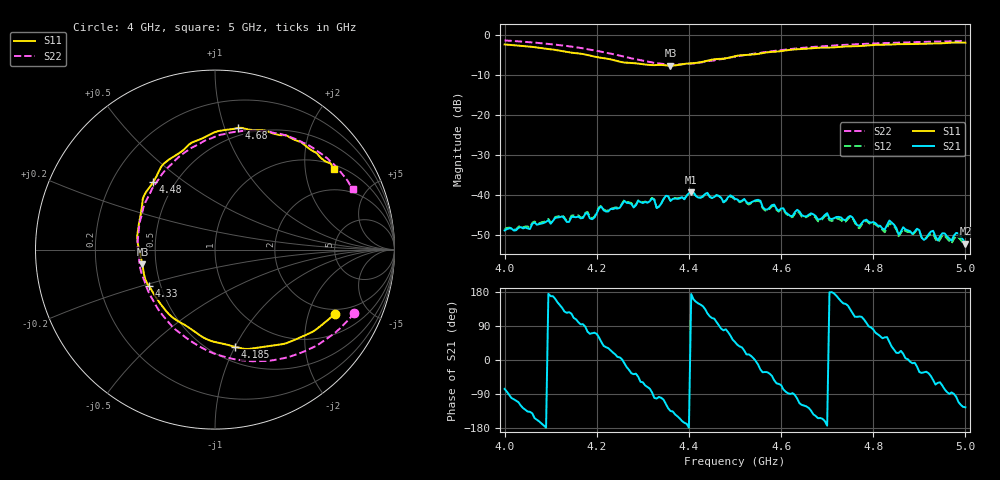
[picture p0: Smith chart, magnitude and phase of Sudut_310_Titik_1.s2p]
# Hz S RI R 50
! CMT, C1220, 16058040, 17.2.0/1
! Date: 15/08/2018 11:36:34
! Data: Format (Calibration Info)
! Freq  S11: Re/Im (F2)  S21: Re/Im (F2)  S12: Re/Im (F2)  S22: Re/Im (F2)
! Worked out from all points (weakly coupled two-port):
!   201 points, 4 GHz to 5 GHz, reference 50 ohm
!   highest |S21| = -39.28 dB at 4.405 GHz (marker M1); lowest = -52.0 dB at 5 GHz (marker M2)
!   lowest |S11| = -7.7 dB at 4.36 GHz (marker M3), VSWR 2.41, Z = 21 - j4.18 ohm
!   |S11| at or under -10 dB: nowhere
!   |S22| runs from -7.4 to -1.4 dB; largest |S21 - S12| = 0.00038
!   S11 on the Smith chart (normalised r, x): 4 GHz: 1.80, -3.02; 4.185 GHz: 0.64, -1.00; 4.33 GHz: 0.43, -0.21; 4.48 GHz: 0.38, +0.38; 4.68 GHz: 0.43, +1.12; 5 GHz: 1.14, +2.83
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4e9  0.6693 -0.3563  0.000863 -0.00355  0.00102 -0.00367  0.7754 -0.3521
4.17e9  0.1634 -0.553  -0.000406 0.00521  -0.000459 0.00532  0.2746 -0.6207
4.185e9  0.1108 -0.5418  0.00184 0.00484  0.00193 0.00504  0.2102 -0.622
4.26e9  -0.1705 -0.4188  0.00844 -0.00131  0.00868 -0.00127  -0.1171 -0.5212
4.32e9  -0.348 -0.2354  0.000695 -0.00914  0.000594 -0.00926  -0.3295 -0.3112
4.33e9  -0.3697 -0.2017  -0.00141 -0.0068  -0.00152 -0.00685  -0.3531 -0.2696
4.335e9  -0.3801 -0.1843  -0.000941 -0.00716  -0.00104 -0.00718  -0.3654 -0.2463
4.36e9  -0.4043 -0.0827  -0.00599 -0.00606  -0.00608 -0.00608  -0.4111 -0.1268
4.405e9  -0.43 0.1011  -0.0108 0.00112  -0.0108 0.00134  -0.4262 0.0961
4.48e9  -0.3452 0.3751  0.00135 0.00852  0.00155 0.00841  -0.3021 0.4109
4.5e9  -0.3076 0.446  0.00612 0.00666  0.00608 0.00644  -0.2469 0.4718
4.67e9  0.1117 0.6739  -0.00466 -0.00346  -0.00456 -0.00322  0.2463 0.6628
4.68e9  0.1309 0.6781  -0.00449 -0.00223  -0.00426 -0.00211  0.2704 0.66
4.75e9  0.287 0.6608  -0.00382 0.00401  -0.00375 0.00391  0.4312 0.6217
4.825e9  0.4251 0.6204  0.00189 0.00325  0.00183 0.00294  0.5668 0.552
4.835e9  0.444 0.6111  0.00328 0.00358  0.00296 0.00341  0.5814 0.5414
4.855e9  0.476 0.6004  0.00308 0.00104  0.00292 0.00104  0.6116 0.5188
4.895e9  0.5335 0.5563  0.00367 -0.00114  0.00362 -0.000981  0.6641 0.4731
4.91e9  0.5559 0.5438  0.00235 -0.00149  0.00239 -0.00158  0.68 0.4541
4.97e9  0.6387 0.4825  0.000212 -0.00272  0.000194 -0.00251  0.7416 0.3791
4.98e9  0.6456 0.4769  -0.000419 -0.00337  -0.000427 -0.00308  0.749 0.365
5e9  0.6609 0.4498  -0.00143 -0.00205  -0.00126 -0.00195  0.7672 0.3384
